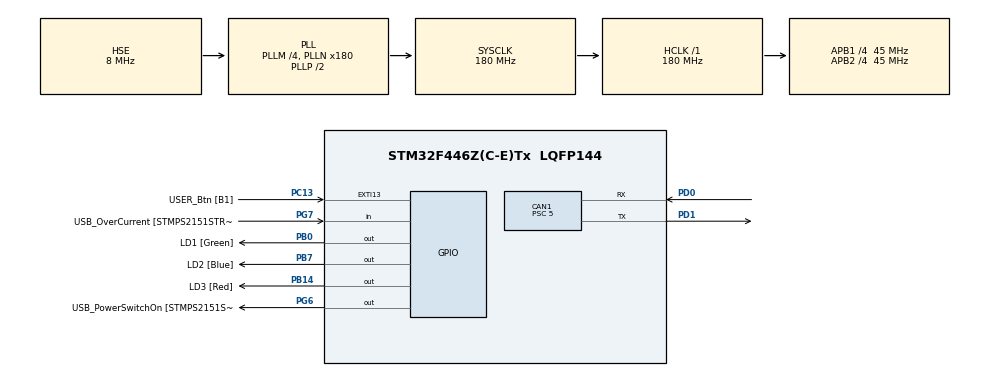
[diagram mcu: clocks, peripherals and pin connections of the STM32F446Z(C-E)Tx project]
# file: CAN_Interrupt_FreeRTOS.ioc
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CAN1.BS1=CAN_BS1_15TQ
CAN1.BS2=CAN_BS2_2TQ
CAN1.CalculateBaudRate=500000
CAN1.CalculateTimeBit=2000
CAN1.CalculateTimeQuantum=111.11111111111111
CAN1.Prescaler=5
Mcu.Family=STM32F4
Mcu.Name=STM32F446Z(C-E)Tx
Mcu.Package=LQFP144
NVIC.CAN1_RX0_IRQn=true\:7\:0\:true\:false\:true\:true\:true\:true
NVIC.EXTI15_10_IRQn=true\:0\:0\:false\:false\:true\:true\:true\:true
NVIC.PriorityGroup=NVIC_PRIORITYGROUP_4
NVIC.TIM6_DAC_IRQn=true\:15\:0\:false\:false\:true\:false\:true\:true
NVIC.TimeBase=TIM6_DAC_IRQn
NVIC.TimeBaseIP=TIM6
PA10.GPIO_Label=USB_ID
PA10.Signal=USB_OTG_FS_ID
PA11.GPIO_Label=USB_DM
PA11.Signal=USB_OTG_FS_DM
PA12.GPIO_Label=USB_DP
PA12.Signal=USB_OTG_FS_DP
PA13.GPIO_Label=TMS
PA13.Mode=Serial_Wire
PA13.Signal=SYS_JTMS-SWDIO
PA14.GPIO_Label=TCK
PA14.Mode=Serial_Wire
PA14.Signal=SYS_JTCK-SWCLK
PA8.GPIO_Label=USB_SOF [TP1]
PA8.Signal=USB_OTG_FS_SOF
PA9.GPIO_Label=USB_VBUS
PA9.Signal=USB_OTG_FS_VBUS
PB0.GPIO_Label=LD1 [Green]
PB0.Signal=GPIO_Output
PB14.GPIO_Label=LD3 [Red]
PB14.Signal=GPIO_Output
PB7.GPIO_Label=LD2 [Blue]
PB7.Signal=GPIO_Output
PC13.GPIO_Label=USER_Btn [B1]
PC13.Signal=GPXTI13
PC14-OSC32_IN.Signal=RCC_OSC32_IN
PC15-OSC32_OUT.Signal=RCC_OSC32_OUT
PD0.GPIO_PuPd=GPIO_PULLUP
PD0.Mode=CAN_Activate
PD0.Signal=CAN1_RX
PD1.Mode=CAN_Activate
PD1.Signal=CAN1_TX
PD8.GPIO_Label=STLK_RX [STM32F103CBT6_PA3]
PD8.Signal=USART3_TX
PD9.GPIO_Label=STLK_TX [STM32F103CBT6_PA2]
PD9.Signal=USART3_RX
PG6.GPIO_Label=USB_PowerSwitchOn [STMPS2151STR_EN]
PG6.Signal=GPIO_Output
PG7.GPIO_Label=USB_OverCurrent [STMPS2151STR_FAULT]
PG7.Signal=GPIO_Input
PH0-OSC_IN.GPIO_Label=MCO [STM32F103CBT6_PA8]
PH0-OSC_IN.Mode=HSE-External-Oscillator
PH0-OSC_IN.Signal=RCC_OSC_IN
PH1-OSC_OUT.Mode=HSE-External-Oscillator
PH1-OSC_OUT.Signal=RCC_OSC_OUT
ProjectManager.HeapSize=0x200
ProjectManager.StackSize=0x400
ProjectManager.TargetToolchain=STM32CubeIDE
RCC.48MHZClocksFreq_Value=24000000
RCC.AHBFreq_Value=180000000
RCC.APB1CLKDivider=RCC_HCLK_DIV4
RCC.APB1Freq_Value=45000000
RCC.APB1TimFreq_Value=90000000
RCC.APB2CLKDivider=RCC_HCLK_DIV4
RCC.APB2Freq_Value=45000000
RCC.APB2TimFreq_Value=90000000
RCC.CortexFreq_Value=180000000
RCC.HCLKFreq_Value=180000000
RCC.HSE_VALUE=8000000
RCC.HSI_VALUE=16000000
RCC.LSE_VALUE=32768
RCC.PLLM=4
RCC.PLLMUL=RCC_PLL_MUL9
RCC.PLLN=180
RCC.PLLSourceVirtual=RCC_PLLSOURCE_HSE
RCC.PRESCALERUSB=RCC_USBCLKSOURCE_PLL_DIV1_5
RCC.SYSCLKFreq_VALUE=180000000
RCC.SYSCLKSource=RCC_SYSCLKSOURCE_PLLCLK
RCC.SYSCLKSourceVirtual=RCC_SYSCLKSOURCE_PLLCLK
RCC.USBFreq_Value=180000000
RCC.VCOOutputFreq_Value=360000000
VP_SYS_VS_tim6.Mode=TIM6
board=NUCLEO-F446ZE

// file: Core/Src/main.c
/* USER CODE BEGIN Header */
/**
  ******************************************************************************
  * @file           : main.c
  * @brief          : Main program body
  ******************************************************************************
  * @attention
  *
  * Copyright (c) 2023 STMicroelectronics.
  * All rights reserved.
  *
  * This software is licensed under terms that can be found in the LICENSE file
  * in the root directory of this software component.
  * If no LICENSE file comes with this software, it is provided AS-IS.
  *
  ******************************************************************************
  */
/* USER CODE END Header */
#include "main.h"

/* USER CODE BEGIN Includes */
#include <stdio.h>
#include "FreeRTOS.h"
#include "task.h"
/* USER CODE END Includes */

CAN_HandleTypeDef hcan1;

void SystemClock_Config(void);
static void MX_GPIO_Init(void);
static void MX_CAN1_Init(void);
/* USER CODE BEGIN PFP */
static void task1_handler(void* parameters);
static void LED_Task(void* parameters);
/* USER CODE END PFP */

/* USER CODE BEGIN 0 */
CAN_TxHeaderTypeDef TxHeader;
CAN_RxHeaderTypeDef RxHeader;

uint8_t TxData[8];
uint8_t RxData[8];

uint32_t TxMailbox;

int datacheck = 0;

volatile uint8_t receivedDelay = 0;
volatile uint8_t receivedBlinkCount = 0;
TaskHandle_t taskHandle;

void HAL_GPIO_EXTI_Callback(uint16_t GPIO_Pin)
{
	printf("button pressed\n");
	if(GPIO_Pin == USER_Btn_Pin)
	{
		TxData[0]=250;
		TxData[1]=10;

		if(HAL_CAN_AddTxMessage(&hcan1, &TxHeader, TxData, &TxMailbox) != HAL_OK)
		{
			printf("msg NOT sent \n into the error_handler\n");
		    Error_Handler();
		}
		  HAL_GPIO_TogglePin(LD1_GPIO_Port, LD1_Pin);
		  HAL_GPIO_TogglePin(LD2_GPIO_Port, LD2_Pin);
		  HAL_GPIO_TogglePin(LD3_GPIO_Port, LD3_Pin);
		printf("msg sent\n");
	}
}

static void task1_handler(void* parameters)
{
    while (1)
    {
        if (HAL_GPIO_ReadPin(USER_Btn_GPIO_Port, USER_Btn_Pin) != GPIO_PIN_RESET)
        {
            HAL_GPIO_EXTI_Callback(USER_Btn_Pin);
        }
        vTaskDelay(pdMS_TO_TICKS(100)); // Delay the task for 100 milliseconds
    	taskYIELD();
    }
}

void HAL_CAN_RxFifo0MsgPendingCallback(CAN_HandleTypeDef *hcan)
{

    HAL_CAN_GetRxMessage(&hcan1, CAN_RX_FIFO0, &RxHeader, RxData);

    if (RxHeader.DLC == 2)
    {
    	receivedDelay = RxData[0];
    	receivedBlinkCount = RxData[1];
    	BaseType_t xHigherPriorityTaskWoken = pdFALSE;
    	xTaskNotifyFromISR(taskHandle, 0, eNoAction, &xHigherPriorityTaskWoken);
    	portYIELD_FROM_ISR(xHigherPriorityTaskWoken);

    }
}

static void LED_Task(void* parameters)
{
    while (1)
    {
        ulTaskNotifyTake(pdTRUE, portMAX_DELAY);  // Wait for a notification

        // Toggle LEDs based on receivedBlinkCount and receivedDelay
        for (int i = 0; i < receivedBlinkCount; i++)
        {
            printf("Rxdata %d, %d\n", receivedDelay, receivedBlinkCount);
            HAL_GPIO_TogglePin(LD1_GPIO_Port, LD1_Pin);
            HAL_GPIO_TogglePin(LD2_GPIO_Port, LD2_Pin);
            HAL_GPIO_TogglePin(LD3_GPIO_Port, LD3_Pin);
            vTaskDelay(pdMS_TO_TICKS(receivedDelay));
        }
    }
}

//void HAL_CAN_RxFifo0MsgPendingCallback(CAN_HandleTypeDef *hcan)
//{
//    BaseType_t xHigherPriorityTaskWoken = pdFALSE;
//
//    HAL_CAN_GetRxMessage(&hcan1, CAN_RX_FIFO0, &RxHeader, RxData);
//
//    if (RxHeader.DLC == 2)
//    {
//        for (int i = 0; i < RxData[1]; i++)
//        {
//            // Toggle LEDs without blocking operations
//        	printf("Rxdata %d, %d\n",RxData[0],RxData[1]);
//            HAL_GPIO_TogglePin(LD1_GPIO_Port, LD1_Pin);
//            HAL_GPIO_TogglePin(LD2_GPIO_Port, LD2_Pin);
//            HAL_GPIO_TogglePin(LD3_GPIO_Port, LD3_Pin);
//            vTaskDelay(pdMS_TO_TICKS(RxData[0])); // Use RxData[0] as the delay value
//        }
//    }
//
//    portYIELD_FROM_ISR(xHigherPriorityTaskWoken);
//}

/* USER CODE END 0 */

int main(void)
{
  /* USER CODE BEGIN 1 */
	TaskHandle_t task1_handle;

	BaseType_t status;

  /* USER CODE END 1 */

  /* MCU Configuration--------------------------------------------------------*/

  /* Reset of all peripherals, Initializes the Flash interface and the Systick. */
  HAL_Init();

  /* Configure the system clock */
  SystemClock_Config();

  /* Initialize all configured peripherals */
  MX_GPIO_Init();
  MX_CAN1_Init();
  /* USER CODE BEGIN 2 */
  if(HAL_CAN_Start(&hcan1) != HAL_OK)
   {
 	  Error_Handler();
   }
   if(HAL_CAN_ActivateNotification(&hcan1, CAN_IT_RX_FIFO0_MSG_PENDING) != HAL_OK)
   {
 	  Error_Handler();
   }

   TxHeader.DLC = 2;
   TxHeader.IDE = CAN_ID_STD;
   TxHeader.RTR = CAN_RTR_DATA;
   TxHeader.StdId = 0x446;

   status = xTaskCreate(task1_handler, "Task-1", 200, NULL, 2, &task1_handle);

   configASSERT(status == pdPASS);

   status = xTaskCreate(LED_Task, "LED_Task", configMINIMAL_STACK_SIZE, NULL, 1, &taskHandle);

   configASSERT(status == pdPASS);

   vTaskStartScheduler();
  /* USER CODE END 2 */

  /* Infinite loop */
  while (1)
  {

  }
}

void SystemClock_Config(void)
{
  RCC_OscInitTypeDef RCC_OscInitStruct = {0};
  RCC_ClkInitTypeDef RCC_ClkInitStruct = {0};

  /** Configure the main internal regulator output voltage
  */
  __HAL_RCC_PWR_CLK_ENABLE();
  __HAL_PWR_VOLTAGESCALING_CONFIG(PWR_REGULATOR_VOLTAGE_SCALE1);

  /** Initializes the RCC Oscillators according to the specified parameters
  * in the RCC_OscInitTypeDef structure.
  */
  RCC_OscInitStruct.OscillatorType = RCC_OSCILLATORTYPE_HSE;
  RCC_OscInitStruct.HSEState = RCC_HSE_ON;
  RCC_OscInitStruct.PLL.PLLState = RCC_PLL_ON;
  RCC_OscInitStruct.PLL.PLLSource = RCC_PLLSOURCE_HSE;
  RCC_OscInitStruct.PLL.PLLM = 4;
  RCC_OscInitStruct.PLL.PLLN = 180;
  RCC_OscInitStruct.PLL.PLLP = RCC_PLLP_DIV2;
  RCC_OscInitStruct.PLL.PLLQ = 2;
  RCC_OscInitStruct.PLL.PLLR = 2;
  if (HAL_RCC_OscConfig(&RCC_OscInitStruct) != HAL_OK)
  {
    Error_Handler();
  }

  /** Activate the Over-Drive mode
  */
  if (HAL_PWREx_EnableOverDrive() != HAL_OK)
  {
    Error_Handler();
  }

  /** Initializes the CPU, AHB and APB buses clocks
  */
  RCC_ClkInitStruct.ClockType = RCC_CLOCKTYPE_HCLK|RCC_CLOCKTYPE_SYSCLK
                              |RCC_CLOCKTYPE_PCLK1|RCC_CLOCKTYPE_PCLK2;
  RCC_ClkInitStruct.SYSCLKSource = RCC_SYSCLKSOURCE_PLLCLK;
  RCC_ClkInitStruct.AHBCLKDivider = RCC_SYSCLK_DIV1;
  RCC_ClkInitStruct.APB1CLKDivider = RCC_HCLK_DIV4;
  RCC_ClkInitStruct.APB2CLKDivider = RCC_HCLK_DIV4;

  if (HAL_RCC_ClockConfig(&RCC_ClkInitStruct, FLASH_LATENCY_5) != HAL_OK)
  {
    Error_Handler();
  }
}

static void MX_CAN1_Init(void)
{

  hcan1.Instance = CAN1;
  hcan1.Init.Prescaler = 5;
  hcan1.Init.Mode = CAN_MODE_NORMAL;
  hcan1.Init.SyncJumpWidth = CAN_SJW_1TQ;
  hcan1.Init.TimeSeg1 = CAN_BS1_15TQ;
  hcan1.Init.TimeSeg2 = CAN_BS2_2TQ;
  hcan1.Init.TimeTriggeredMode = DISABLE;
  hcan1.Init.AutoBusOff = DISABLE;
  hcan1.Init.AutoWakeUp = DISABLE;
  hcan1.Init.AutoRetransmission = DISABLE;
  hcan1.Init.ReceiveFifoLocked = DISABLE;
  hcan1.Init.TransmitFifoPriority = DISABLE;
  if (HAL_CAN_Init(&hcan1) != HAL_OK)
  {
    Error_Handler();
  }
  /* USER CODE BEGIN CAN1_Init 2 */
  CAN_FilterTypeDef filter;

    filter.FilterActivation = CAN_FILTER_ENABLE;
    filter.FilterBank = 0;//18;
    filter.FilterFIFOAssignment = CAN_FILTER_FIFO0;
    filter.FilterIdHigh = 0x0000;//0x103<<5;
    filter.FilterIdLow = 0x0000;
    filter.FilterMaskIdHigh = 0x0000;//0x103<<5;
    filter.FilterMaskIdLow = 0x0000;
    filter.FilterMode = CAN_FILTERMODE_IDMASK;
    filter.FilterScale = CAN_FILTERSCALE_32BIT;
    filter.SlaveStartFilterBank = 0;//20;

    if(HAL_CAN_ConfigFilter(&hcan1, &filter) != HAL_OK)
    {
  	  Error_Handler();
    }
  /* USER CODE END CAN1_Init 2 */

}

static void MX_GPIO_Init(void)
{
  GPIO_InitTypeDef GPIO_InitStruct = {0};

  /* GPIO Ports Clock Enable */
  __HAL_RCC_GPIOC_CLK_ENABLE();
  __HAL_RCC_GPIOH_CLK_ENABLE();
  __HAL_RCC_GPIOB_CLK_ENABLE();
  __HAL_RCC_GPIOD_CLK_ENABLE();
  __HAL_RCC_GPIOG_CLK_ENABLE();
  __HAL_RCC_GPIOA_CLK_ENABLE();

  /*Configure GPIO pin Output Level */
  HAL_GPIO_WritePin(GPIOB, LD1_Pin|LD3_Pin|LD2_Pin, GPIO_PIN_RESET);

  /*Configure GPIO pin Output Level */
  HAL_GPIO_WritePin(USB_PowerSwitchOn_GPIO_Port, USB_PowerSwitchOn_Pin, GPIO_PIN_RESET);

  /*Configure GPIO pin : USER_Btn_Pin */
  GPIO_InitStruct.Pin = USER_Btn_Pin;
  GPIO_InitStruct.Mode = GPIO_MODE_IT_RISING;
  GPIO_InitStruct.Pull = GPIO_NOPULL;
  HAL_GPIO_Init(USER_Btn_GPIO_Port, &GPIO_InitStruct);

  /*Configure GPIO pins : LD1_Pin LD3_Pin LD2_Pin */
  GPIO_InitStruct.Pin = LD1_Pin|LD3_Pin|LD2_Pin;
  GPIO_InitStruct.Mode = GPIO_MODE_OUTPUT_PP;
  GPIO_InitStruct.Pull = GPIO_NOPULL;
  GPIO_InitStruct.Speed = GPIO_SPEED_FREQ_LOW;
  HAL_GPIO_Init(GPIOB, &GPIO_InitStruct);

  /*Configure GPIO pins : STLK_RX_Pin STLK_TX_Pin */
  GPIO_InitStruct.Pin = STLK_RX_Pin|STLK_TX_Pin;
  GPIO_InitStruct.Mode = GPIO_MODE_AF_PP;
  GPIO_InitStruct.Pull = GPIO_NOPULL;
  GPIO_InitStruct.Speed = GPIO_SPEED_FREQ_VERY_HIGH;
  GPIO_InitStruct.Alternate = GPIO_AF7_USART3;
  HAL_GPIO_Init(GPIOD, &GPIO_InitStruct);

  /*Configure GPIO pin : USB_PowerSwitchOn_Pin */
  GPIO_InitStruct.Pin = USB_PowerSwitchOn_Pin;
  GPIO_InitStruct.Mode = GPIO_MODE_OUTPUT_PP;
  GPIO_InitStruct.Pull = GPIO_NOPULL;
  GPIO_InitStruct.Speed = GPIO_SPEED_FREQ_LOW;
  HAL_GPIO_Init(USB_PowerSwitchOn_GPIO_Port, &GPIO_InitStruct);

  /*Configure GPIO pin : USB_OverCurrent_Pin */
  GPIO_InitStruct.Pin = USB_OverCurrent_Pin;
  GPIO_InitStruct.Mode = GPIO_MODE_INPUT;
  GPIO_InitStruct.Pull = GPIO_NOPULL;
  HAL_GPIO_Init(USB_OverCurrent_GPIO_Port, &GPIO_InitStruct);

  /*Configure GPIO pins : USB_SOF_Pin USB_ID_Pin USB_DM_Pin USB_DP_Pin */
  GPIO_InitStruct.Pin = USB_SOF_Pin|USB_ID_Pin|USB_DM_Pin|USB_DP_Pin;
  GPIO_InitStruct.Mode = GPIO_MODE_AF_PP;
  GPIO_InitStruct.Pull = GPIO_NOPULL;
  GPIO_InitStruct.Speed = GPIO_SPEED_FREQ_VERY_HIGH;
  GPIO_InitStruct.Alternate = GPIO_AF10_OTG_FS;
  HAL_GPIO_Init(GPIOA, &GPIO_InitStruct);

  /*Configure GPIO pin : USB_VBUS_Pin */
  GPIO_InitStruct.Pin = USB_VBUS_Pin;
  GPIO_InitStruct.Mode = GPIO_MODE_INPUT;
  GPIO_InitStruct.Pull = GPIO_NOPULL;
  HAL_GPIO_Init(USB_VBUS_GPIO_Port, &GPIO_InitStruct);

  /* EXTI interrupt init*/
  HAL_NVIC_SetPriority(EXTI15_10_IRQn, 0, 0);
  HAL_NVIC_EnableIRQ(EXTI15_10_IRQn);

}

void HAL_TIM_PeriodElapsedCallback(TIM_HandleTypeDef *htim)
{
  if (htim->Instance == TIM6) {
    HAL_IncTick();
  }
}

void Error_Handler(void)
{
  __disable_irq();
  while (1)
  {
  }
}
